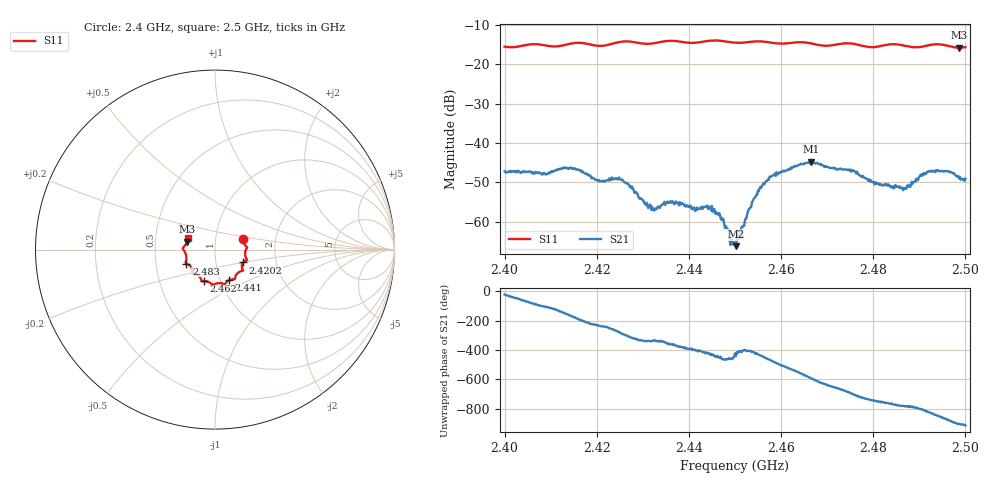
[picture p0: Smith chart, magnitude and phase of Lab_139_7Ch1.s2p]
# Hz S RI R 50
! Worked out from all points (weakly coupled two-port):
!   601 points, 2.4 GHz to 2.5 GHz, reference 50 ohm
!   highest |S21| = -44.71 dB at 2.4665 GHz (marker M1); lowest = -66.2 dB at 2.4502 GHz (marker M2)
!   lowest |S11| = -15.8 dB at 2.4987 GHz (marker M3), VSWR 1.39, Z = 36.4 + j3.3 ohm
!   |S11| at or under -10 dB: start of sweep to end of sweep
!   S12 and S22 are empty: the file has one direction only
!   S11 on the Smith chart (normalised r, x): 2.4 GHz: 1.36, +0.17; 2.4202 GHz: 1.35, -0.20; 2.441 GHz: 1.10, -0.39; 2.462 GHz: 0.83, -0.30; 2.483 GHz: 0.72, -0.12; 2.5 GHz: 0.73, +0.09
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2.4e9  0.1563 0.0605  0.00402 -0.00171  0 0  0 0
2.416667e9  0.1776 -0.0583  -0.0041 0.00126  0 0  0 0
2.420167e9  0.1562 -0.0718  -0.00207 0.0026  0 0  0 0
2.425167e9  0.156 -0.1135  0.000839 0.00333  0 0  0 0
2.430833e9  0.1267 -0.1307  0.00165 0.000559  0 0  0 0
2.433333e9  0.1127 -0.1523  0.00145 0.000574  0 0  0 0
2.436e9  0.1107 -0.1651  0.00183 -5.32e-06  0 0  0 0
2.441e9  0.0769 -0.1704  0.0012 -0.000922  0 0  0 0
2.445e9  0.0542 -0.193  0.000491 -0.00151  0 0  0 0
2.447e9  0.0483 -0.1925  -4.6e-05 -0.00106  0 0  0 0
2.45e9  0.0268 -0.1863  0.000231 -0.000494  0 0  0 0
2.450167e9  0.0252 -0.1863  5.29e-05 -0.000486  0 0  0 0
2.4555e9  -0.0121 -0.1951  0.000513 -0.00272  0 0  0 0
2.462e9  -0.0618 -0.1762  -0.00471 -0.000907  0 0  0 0
2.4665e9  -0.0762 -0.1679  -0.00349 0.00466  0 0  0 0
2.466667e9  -0.0765 -0.1669  -0.00304 0.00458  0 0  0 0
2.483e9  -0.1592 -0.0781  0.00215 -0.00191  0 0  0 0
2.483333e9  -0.1608 -0.0773  0.00214 -0.00208  0 0  0 0
2.487e9  -0.1607 -0.0594  0.00118 -0.00233  0 0  0 0
2.492333e9  -0.1764 -0.00043  -0.00136 -0.00423  0 0  0 0
2.498667e9  -0.1559 0.0441  -0.00353 0.000192  0 0  0 0
2.5e9  -0.153 0.0627  -0.0034 0.000891  0 0  0 0
